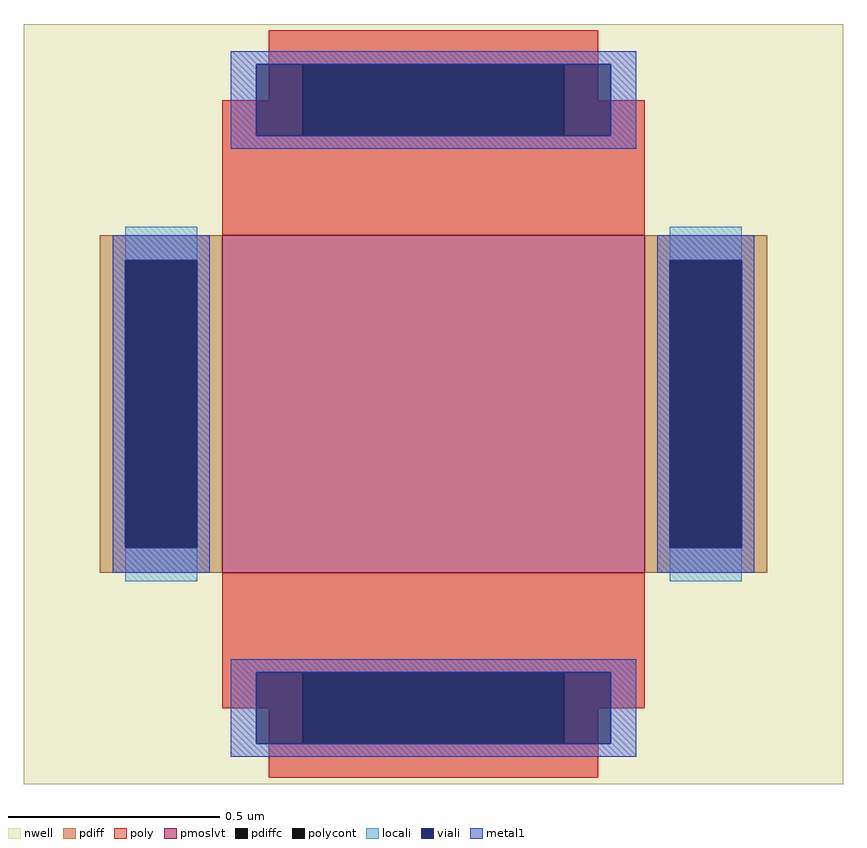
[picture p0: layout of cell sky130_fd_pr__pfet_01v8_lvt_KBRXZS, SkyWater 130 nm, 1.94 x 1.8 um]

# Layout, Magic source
magic
tech sky130A
magscale 1 2
<< nwell >>
rect -194 -180 194 180
<< pmoslvt >>
rect -100 -80 100 80
<< pdiff >>
rect -158 68 -100 80
rect -158 -68 -146 68
rect -112 -68 -100 68
rect -158 -80 -100 -68
rect 100 68 158 80
rect 100 -68 112 68
rect 146 -68 158 68
rect 100 -80 158 -68
<< pdiffc >>
rect -146 -68 -112 68
rect 112 -68 146 68
<< poly >>
rect -78 161 78 177
rect -78 144 -62 161
rect -100 127 -62 144
rect 62 144 78 161
rect 62 127 100 144
rect -100 80 100 127
rect -100 -127 100 -80
rect -100 -144 -62 -127
rect -78 -161 -62 -144
rect 62 -144 100 -127
rect 62 -161 78 -144
rect -78 -177 78 -161
<< polycont >>
rect -62 127 62 161
rect -62 -161 62 -127
<< locali >>
rect -146 68 -112 84
rect -146 -84 -112 -68
rect 112 68 146 84
rect 112 -84 146 -68
<< viali >>
rect -84 127 -62 161
rect -62 127 62 161
rect 62 127 84 161
rect -146 -68 -112 68
rect 112 -68 146 68
rect -84 -161 -62 -127
rect -62 -161 62 -127
rect 62 -161 84 -127
<< metal1 >>
rect -96 161 96 167
rect -96 127 -84 161
rect 84 127 96 161
rect -96 121 96 127
rect -152 68 -106 80
rect -152 -68 -146 68
rect -112 -68 -106 68
rect -152 -80 -106 -68
rect 106 68 152 80
rect 106 -68 112 68
rect 146 -68 152 68
rect 106 -80 152 -68
rect -96 -127 96 -121
rect -96 -161 -84 -127
rect 84 -161 96 -127
rect -96 -167 96 -161
<< properties >>
string gencell sky130_fd_pr__pfet_01v8_lvt
string library sky130
string parameters w 0.8 l 1.0 m 1 nf 1 diffcov 100 polycov 74 guard 0 glc 1 grc 1 gtc 1 gbc 1 tbcov 100 rlcov 100 topc 1 botc 1 poverlap 0 doverlap 1 lmin 0.35 wmin 0.42 class mosfet compatible {sky130_fd_pr__pfet_01v8  sky130_fd_pr__pfet_01v8_lvt sky130_fd_pr__pfet_01v8_hvt  sky130_fd_pr__pfet_g5v0d10v5} full_metal 1 viasrc 100 viadrn 100 viagate 100 viagb 0 viagr 0 viagl 0 viagt 0
<< end >>
